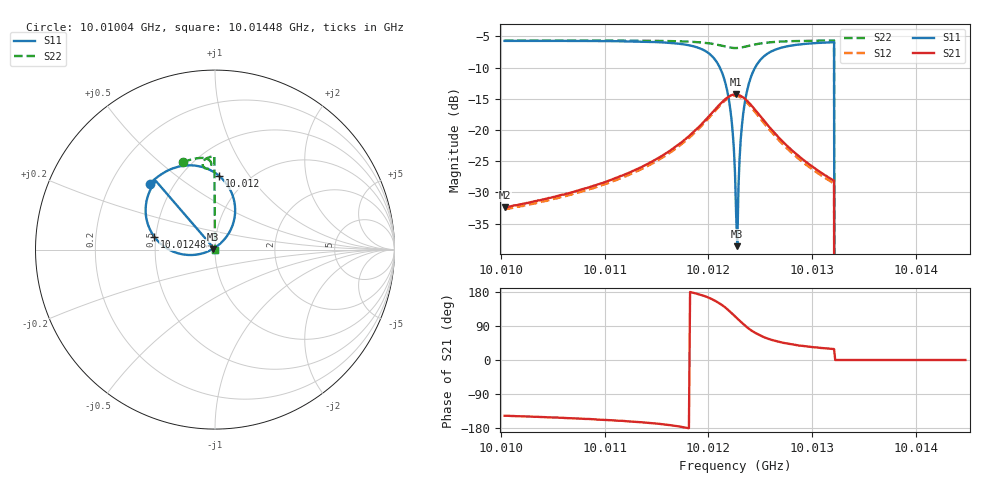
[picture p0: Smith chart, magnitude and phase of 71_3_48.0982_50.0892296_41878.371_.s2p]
#  HZ  S  RI  R  50.00
! Rohde & Schwarz Vector Network Analyzer
! Rohde-Schwarz,ZNB20-2Port,1311601062101988,3.16
! Created: UTC 12/23/2023, 3:41:46 AM
! freq[Hz]  re:S11  im:S11  re:S21  im:S21  re:S12  im:S12  re:S22  im:S22
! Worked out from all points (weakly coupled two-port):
!   401 points, 10.01004 GHz to 10.01448 GHz, reference 50 ohm
!   highest |S21| = -14.32 dB at 10.01227 GHz (marker M1); lowest = -32.4 dB at 10.01004 GHz (marker M2)
!   lowest |S11| = -38.6 dB at 10.01228 GHz (marker M3), VSWR 1.02, Z = 48.9 + j0.377 ohm
!   |S11| at or under -10 dB: 10.01211 GHz to 10.01245 GHz (340.6 kHz wide, 0.0034 % of centre); 10.01321 GHz to end of sweep
!   |S22| runs from - to -5.7 dB; largest |S21 - S12| = 0.0093
!   S11 on the Smith chart (normalised r, x): 10.01004 GHz: 0.37, +0.37; 10.012 GHz: 0.74, +0.73; 10.01248 GHz: 0.49, +0.08; 10.01448 GHz: 1.00, +0.00
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1.0010036e10  -0.3629 0.3674  -0.0202 -0.0131  -0.0187 -0.0136  -0.1793 0.487
1.001078e10  -0.307 0.4144  -0.0303 -0.0141  -0.0284 -0.0151  -0.131 0.5026
1.0011524e10  -0.1988 0.4633  -0.0588 -0.012  -0.0561 -0.0143  -0.0753 0.511
1.0012002e10  0.0217 0.4116  -0.1231 0.0336  -0.1212 0.026  -0.0275 0.494
1.0012113e10  0.0997 0.2977  -0.1371 0.0841  -0.1381 0.0755  -0.0205 0.4755
1.0012179e10  0.1093 0.1801  -0.1276 0.128  -0.1299 0.1203  -0.0245 0.4613
1.0012224e10  0.0779 0.0924  -0.106 0.1574  -0.1097 0.1498  -0.0326 0.4537
1.0012235e10  0.0639 0.0714  -0.0984 0.1638  -0.1025 0.1562  -0.0352 0.4522
1.0012257e10  0.0299 0.034  -0.0818 0.174  -0.0861 0.1669  -0.0407 0.4507
1.0012268e10  0.0105 0.0181  -0.0732 0.1778  -0.0768 0.171  -0.0438 0.4504
1.0012279e10  -0.0111 0.00386  -0.0638 0.1807  -0.0675 0.1742  -0.0468 0.4506
1.001229e10  -0.0338 -0.00798  -0.0544 0.1828  -0.0584 0.1764  -0.0496 0.4509
1.0012324e10  -0.1043 -0.0283  -0.0264 0.1831  -0.0305 0.1771  -0.0575 0.4544
1.0012357e10  -0.174 -0.0276  -6.21e-05 0.1763  -0.00492 0.1705  -0.0637 0.4601
1.0012412e10  -0.2677 0.00663  0.032 0.1548  0.0257 0.15  -0.0685 0.4713
1.0012479e10  -0.3372 0.0703  0.0514 0.1257  0.046 0.1215  -0.0678 0.4843
1.0012657e10  -0.3865 0.2163  0.0589 0.0694  0.0535 0.0682  -0.0529 0.505
1.0013001e10  -0.3539 0.3446  0.0423 0.0287  0.0388 0.0291  -0.0209 0.5179
1.001319e10  -0.3316 0.3788  0.0351 0.0197  0.0324 0.0204  -0.00552 0.5205
1.0013245e10  0 0  0 0  0 0  0 0
1.0013745e10  0 0  0 0  0 0  0 0
1.0014478e10  0 0  0 0  0 0  0 0
